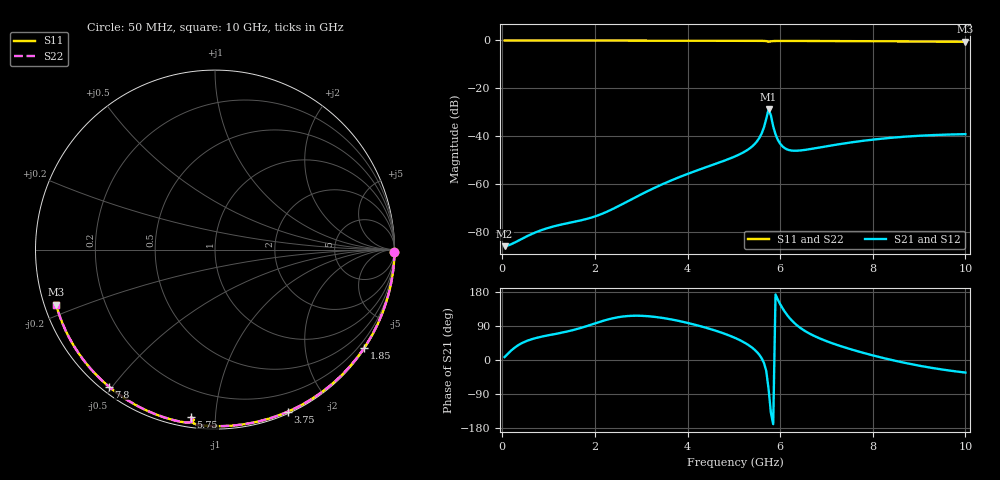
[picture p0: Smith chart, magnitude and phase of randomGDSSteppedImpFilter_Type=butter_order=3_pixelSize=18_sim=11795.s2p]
! freq	dB(S11)	phase(S11)	dB(S12)	phase(S12)
!  dB(S21)	phase(S21)	dB(S22)	phase(S22)
!S-par simulation data
#  GHz  S  DB  R 50
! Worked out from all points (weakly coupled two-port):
!   200 points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, 50 MHz to 10 GHz, reference 50 ohm
!   highest |S21| = -28.77 dB at 5.75 GHz (marker M1); lowest = -85.9 dB at 50 MHz (marker M2)
!   lowest |S11| = -0.6 dB at 10 GHz (marker M3), VSWR 30.60, Z = 1.68 - j8.4 ohm
!   |S11| at or under -10 dB: nowhere
!   |S22| runs from -0.6 to 0.0 dB; largest |S21 - S12| = 0
!   S11 on the Smith chart (normalised r, x): 50 MHz: open; 1.85 GHz: 0.03, -3.34; 3.75 GHz: 0.02, -1.55; 5.75 GHz: 0.05, -0.87; 7.8 GHz: 0.02, -0.49; 10 GHz: 0.03, -0.17
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0.05  -0.00 -0.9  -85.92 7.8  -85.92 7.8  -0.00 -0.9
0.75  -0.02 -13.7  -79.91 58.8  -79.91 58.8  -0.02 -13.7
1.75  -0.04 -31.6  -74.90 86.6  -74.90 86.6  -0.04 -31.6
1.85  -0.04 -33.4  -74.40 90.5  -74.40 90.5  -0.04 -33.4
2.3  -0.05 -41.2  -71.17 107.6  -71.17 107.6  -0.05 -41.2
3.4  -0.08 -60.0  -60.55 112.1  -60.55 112.1  -0.08 -60.0
3.75  -0.09 -65.8  -57.65 104.7  -57.65 104.7  -0.09 -65.8
5.05  -0.13 -86.7  -48.23 57.0  -48.23 57.0  -0.13 -86.7
5.3  -0.15 -90.7  -45.66 40.7  -45.66 40.7  -0.15 -90.7
5.5  -0.16 -94.0  -42.13 20.9  -42.13 20.9  -0.16 -94.0
5.65  -0.20 -96.7  -36.35 -7.7  -36.35 -7.7  -0.20 -96.7
5.75  -0.51 -98.1  -28.77 -76.5  -28.77 -76.5  -0.51 -98.1
5.8  -0.39 -97.0  -31.29 -138.9  -31.29 -138.9  -0.39 -97.0
5.85  -0.26 -98.0  -35.89 -169.3  -35.89 -169.3  -0.26 -98.0
5.9  -0.22 -99.0  -39.18 172.9  -39.18 172.9  -0.22 -99.0
5.95  -0.20 -99.9  -41.49 159.2  -41.49 159.2  -0.20 -99.9
6.05  -0.19 -101.6  -44.24 136.8  -44.24 136.8  -0.19 -101.6
6.25  -0.20 -104.7  -45.99 104.5  -45.99 104.5  -0.20 -104.7
6.7  -0.22 -111.5  -45.20 65.6  -45.20 65.6  -0.22 -111.5
7.8  -0.30 -127.8  -41.89 18.7  -41.89 18.7  -0.30 -127.8
8.35  -0.36 -135.9  -40.73 1.7  -40.73 1.7  -0.36 -135.9
10  -0.57 -160.9  -39.14 -33.2  -39.14 -33.2  -0.57 -160.9
